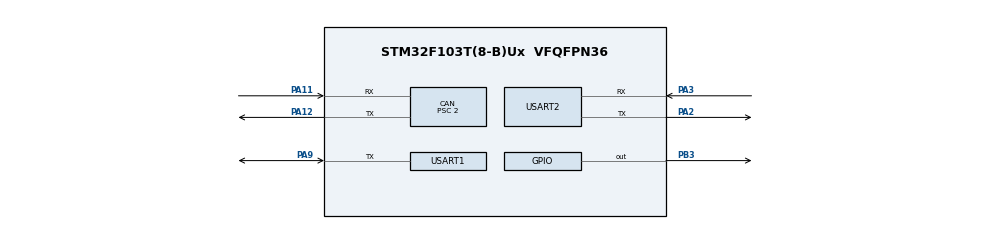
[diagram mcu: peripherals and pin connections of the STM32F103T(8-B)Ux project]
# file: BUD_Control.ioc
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CAN.AWUM=ENABLE
CAN.BS1=CAN_BS1_2TQ
CAN.CalculateBaudRate=1000000
CAN.CalculateTimeBit=1000
CAN.CalculateTimeQuantum=250.0
CAN.NART=ENABLE
CAN.Prescaler=2
Mcu.Family=STM32F1
Mcu.Name=STM32F103T(8-B)Ux
Mcu.Package=VFQFPN36
NVIC.PriorityGroup=NVIC_PRIORITYGROUP_4
NVIC.USB_LP_CAN1_RX0_IRQn=true\:0\:0\:false\:false\:true\:true\:true\:true
PA11.Mode=CAN_Activate
PA11.Signal=CAN_RX
PA12.Mode=CAN_Activate
PA12.Signal=CAN_TX
PA13.Mode=Serial_Wire
PA13.Signal=SYS_JTMS-SWDIO
PA14.Mode=Serial_Wire
PA14.Signal=SYS_JTCK-SWCLK
PA2.Mode=Asynchronous
PA2.Signal=USART2_TX
PA3.Mode=Asynchronous
PA3.Signal=USART2_RX
PA9.Mode=Half_duplex(single_wire_mode)
PA9.Signal=USART1_TX
PB3.Signal=GPIO_Output
PD0-OSC_IN.Mode=HSE-External-Oscillator
PD0-OSC_IN.Signal=RCC_OSC_IN
PD1-OSC_OUT.Mode=HSE-External-Oscillator
PD1-OSC_OUT.Signal=RCC_OSC_OUT
ProjectManager.HeapSize=0x200
ProjectManager.StackSize=0x400
ProjectManager.TargetToolchain=MDK-ARM V5.32
RCC.APB1Freq_Value=8000000
RCC.APB2Freq_Value=8000000
USART1.VirtualMode=VM_ASYNC
USART2.VirtualMode=VM_ASYNC
board=custom

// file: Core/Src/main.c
/* USER CODE BEGIN Header */
/**
  ******************************************************************************
  * @file           : main.c
  * @brief          : Main program body
  ******************************************************************************
  * @attention
  *
  * Copyright (c) 2024 STMicroelectronics.
  * All rights reserved.
  *
  * This software is licensed under terms that can be found in the LICENSE file
  * in the root directory of this software component.
  * If no LICENSE file comes with this software, it is provided AS-IS.
  *
  ******************************************************************************
  */
/* USER CODE END Header */
#include "main.h"
#include "can.h"
#include "usart.h"
#include "gpio.h"

/* USER CODE BEGIN PD */
#define SERVO_MOVE_TIME_WRITE 			1
#define SERVO_MOVE_TIME_READ 				2
#define SERVO_MOVE_TIME_WAIT_WRITE 	7
#define SERVO_MOVE_TIME_WAIT_READ 	8
#define SERVO_MOVE_START 						11
#define SERVO_MOVE_STOP 						12
#define SERVO_ID_WRITE 							13
#define SERVO_ID_READ 							14
#define SERVO_ANGLE_OFFSET_ADJUST 	17
#define SERVO_ANGLE_OFFSET_WRITE 		18
#define SERVO_ANGLE_OFFSET_READ 		19
#define SERVO_ANGLE_LIMIT_WRITE 		20
#define SERVO_ANGLE_LIMIT_READ 			21
#define SERVO_VIN_LIMIT_WRITE 			22
#define SERVO_VIN_LIMIT_READ 				23
#define SERVO_TEMP_MAX_LIMIT_WRITE 	24
#define SERVO_TEMP_MAX_LIMIT_READ 	25
#define SERVO_TEMP_READ 						26
#define SERVO_VIN_READ 							27
#define SERVO_POS_READ 							28
#define SERVO_OR_MOTOR_MODE_WRITE 	29
#define SERVO_OR_MOTOR_MODE_READ 		30
#define SERVO_LOAD_OR_UNLOAD_WRITE 	31
#define SERVO_LOAD_OR_UNLOAD_READ 	32
#define SERVO_LED_CTRL_WRITE 				33
#define SERVO_LED_CTRL_READ 				34
#define SERVO_LED_ERROR_WRITE 			35
#define SERVO_LED_ERROR_READ 				36

/* USER CODE END PD */

void SystemClock_Config(void);
/* USER CODE BEGIN PFP */
void command_pros(uint8_t index,uint8_t *Data,uint8_t len);
uint8_t  check_sum_pros(uint8_t *Data,uint8_t len);
void write_feedback(uint8_t *Rx_Data,uint8_t *Tx_Data);
void clear(uint8_t *Data);
/* USER CODE END PFP */

/* USER CODE BEGIN 0 */
uint8_t Tx_Buffer[10]={0x55,0x55};
uint8_t Rx_Buffer[10];
uint8_t TxData[8]={0};

uint16_t angel_min=0;
uint16_t angel_max=1000;
uint16_t V_min=4500;
uint16_t V_max=12000;
signed short int speed=500;
/* USER CODE END 0 */

int main(void)
{

  /* USER CODE BEGIN 1 */
	uint8_t index;
	uint8_t master_ID;
	uint8_t can_ID;
	uint8_t device_ID=254;
	uint8_t tag=4;

  /* USER CODE END 1 */

  /* MCU Configuration--------------------------------------------------------*/

  /* Reset of all peripherals, Initializes the Flash interface and the Systick. */
  HAL_Init();

  /* Configure the system clock */
  SystemClock_Config();

  /* Initialize all configured peripherals */
  MX_GPIO_Init();
  MX_CAN_Init();
  MX_USART1_UART_Init();
  MX_USART2_UART_Init();

  /* Infinite loop */
  /* USER CODE BEGIN WHILE */
  while (1)
  {
		if(receive_flag==1)											//CAN接收到信息
		{
			receive_flag=0;												//接收标志清零
			index=RxHeader.ExtId>>24;							//描述
			master_ID=(RxHeader.ExtId>>8)&0xFF;		//主机ID
			can_ID=(RxHeader.ExtId)&0xFF;					//can_ID
			if(can_ID==tag)
			{
				clear(TxData);
				switch(index)
				{
					case 0:
						//HAL_StatusTypeDef HAL_UART_Receive(UART_HandleTypeDef *huart, uint8_t *pData, uint16_t Size, uint32_t Timeout)
						if(RxData[0]==0)
						{														//CAN_ID读取
							TxData[0]=RxData[0];
							TxData[1]=1;
							TxData[7]=can_ID;
						}else{
							Tx_Buffer[2]=device_ID;		//金属爪子ID
							Tx_Buffer[3]=3;						//读取命令的数据长度均为3
							switch(RxData[0])
							{
								case 0x01:
									Tx_Buffer[2]=254;
									Tx_Buffer[4]=SERVO_ID_READ;																				//金属爪子ID读取
									Tx_Buffer[Tx_Buffer[3]+2]=check_sum_pros(Tx_Buffer,Tx_Buffer[3]);	//计算校验和
									HAL_HalfDuplex_EnableTransmitter(&huart1);
									HAL_UART_Transmit(&huart1,Tx_Buffer,Tx_Buffer[3]+3,0xffffffff);		//阻塞发送
									HAL_HalfDuplex_EnableReceiver(&huart1);
									HAL_UART_Receive(&huart1,Rx_Buffer,4+3,0xffffffff);								//阻塞接收
									device_ID=Rx_Buffer[5];																						//更新设备ID
									command_pros(RxData[0],Rx_Buffer,1);																	//接收数据处理
									break;
								case 0x02:
									Tx_Buffer[4]=SERVO_ANGLE_OFFSET_READ;															//偏差值读取
									Tx_Buffer[Tx_Buffer[3]+2]=check_sum_pros(Tx_Buffer,Tx_Buffer[3]);
									HAL_HalfDuplex_EnableTransmitter(&huart1);
									HAL_UART_Transmit(&huart1,Tx_Buffer,Tx_Buffer[3]+3,0xffffffff);		//阻塞发送
									HAL_HalfDuplex_EnableReceiver(&huart1);
									HAL_UART_Receive(&huart1,Rx_Buffer,4+3,0xffffffff);
									command_pros(RxData[0],Rx_Buffer,1);
									break;
								case 0x03:
									Tx_Buffer[4]=SERVO_ANGLE_LIMIT_READ;															//最小角度值读取
									Tx_Buffer[Tx_Buffer[3]+2]=check_sum_pros(Tx_Buffer,Tx_Buffer[3]);
									HAL_HalfDuplex_EnableTransmitter(&huart1);
									HAL_UART_Transmit(&huart1,Tx_Buffer,Tx_Buffer[3]+3,0xffffffff);		//阻塞发送
									HAL_HalfDuplex_EnableReceiver(&huart1);
									HAL_UART_Receive(&huart1,Rx_Buffer,7+3,0xffffffff);
									command_pros(RxData[0],Rx_Buffer,2);
									break;
								case 0x04:
									Tx_Buffer[4]=SERVO_ANGLE_LIMIT_READ;															//最大角度值读取
									Tx_Buffer[Tx_Buffer[3]+2]=check_sum_pros(Tx_Buffer,Tx_Buffer[3]);
									HAL_HalfDuplex_EnableTransmitter(&huart1);
									HAL_UART_Transmit(&huart1,Tx_Buffer,Tx_Buffer[3]+3,0xffffffff);		//阻塞发送
									HAL_HalfDuplex_EnableReceiver(&huart1);
									HAL_UART_Receive(&huart1,Rx_Buffer,7+3,0xffffffff);
									command_pros(RxData[0],Rx_Buffer,2);
									break;
								case 0x05:
									Tx_Buffer[4]=SERVO_POS_READ;																			//当前角度值读取
									Tx_Buffer[Tx_Buffer[3]+2]=check_sum_pros(Tx_Buffer,Tx_Buffer[3]);
									HAL_HalfDuplex_EnableTransmitter(&huart1);
									HAL_UART_Transmit(&huart1,Tx_Buffer,Tx_Buffer[3]+3,0xffffffff);		//阻塞发送
									HAL_HalfDuplex_EnableReceiver(&huart1);
									HAL_UART_Receive(&huart1,Rx_Buffer,5+3,0xffffffff);
									command_pros(RxData[0],Rx_Buffer,2);
									break;
								case 0x06:
									Tx_Buffer[4]=SERVO_VIN_LIMIT_READ;																//最小输出电压读取
									Tx_Buffer[Tx_Buffer[3]+2]=check_sum_pros(Tx_Buffer,Tx_Buffer[3]);
									HAL_HalfDuplex_EnableTransmitter(&huart1);
									HAL_UART_Transmit(&huart1,Tx_Buffer,Tx_Buffer[3]+3,0xffffffff);		//阻塞发送
									HAL_HalfDuplex_EnableReceiver(&huart1);
									HAL_UART_Receive(&huart1,Rx_Buffer,7+3,0xffffffff);
									command_pros(RxData[0],Rx_Buffer,2);
									break;
								case 0x07:
									Tx_Buffer[4]=SERVO_VIN_LIMIT_READ;																//最大输出电压读取
									Tx_Buffer[Tx_Buffer[3]+2]=check_sum_pros(Tx_Buffer,Tx_Buffer[3]);
									HAL_HalfDuplex_EnableTransmitter(&huart1);
									HAL_UART_Transmit(&huart1,Tx_Buffer,Tx_Buffer[3]+3,0xffffffff);		//阻塞发送
									HAL_HalfDuplex_EnableReceiver(&huart1);
									HAL_UART_Receive(&huart1,Rx_Buffer,7+3,0xffffffff);
									command_pros(RxData[0],Rx_Buffer,2);
									break;
								case 0x08:
									Tx_Buffer[4]=SERVO_VIN_READ;																			//当前输出电压读取
									Tx_Buffer[Tx_Buffer[3]+2]=check_sum_pros(Tx_Buffer,Tx_Buffer[3]);
									HAL_HalfDuplex_EnableTransmitter(&huart1);
									HAL_UART_Transmit(&huart1,Tx_Buffer,Tx_Buffer[3]+3,0xffffffff);		//阻塞发送
									HAL_HalfDuplex_EnableReceiver(&huart1);
									HAL_UART_Receive(&huart1,Rx_Buffer,5+3,0xffffffff);
									command_pros(RxData[0],Rx_Buffer,2);
									break;
								case 0x09:
									Tx_Buffer[4]=SERVO_LED_ERROR_READ;																//故障状态读取
									Tx_Buffer[Tx_Buffer[3]+2]=check_sum_pros(Tx_Buffer,Tx_Buffer[3]);
									HAL_HalfDuplex_EnableTransmitter(&huart1);
									HAL_UART_Transmit(&huart1,Tx_Buffer,Tx_Buffer[3]+3,0xffffffff);		//阻塞发送
									HAL_HalfDuplex_EnableReceiver(&huart1);
									HAL_UART_Receive(&huart1,Rx_Buffer,4+3,0xffffffff);
									command_pros(RxData[0],Rx_Buffer,1);
									break;
								case 0x10:
									Tx_Buffer[4]=SERVO_TEMP_READ;																			//当前温度读取
									Tx_Buffer[Tx_Buffer[3]+2]=check_sum_pros(Tx_Buffer,Tx_Buffer[3]);
									HAL_HalfDuplex_EnableTransmitter(&huart1);
									HAL_UART_Transmit(&huart1,Tx_Buffer,Tx_Buffer[3]+3,0xffffffff);		//阻塞发送
									HAL_HalfDuplex_EnableReceiver(&huart1);
									HAL_UART_Receive(&huart1,Rx_Buffer,4+3,0xffffffff);
									command_pros(RxData[0],Rx_Buffer,1);
									break;
								case 0x11:
									Tx_Buffer[4]=SERVO_OR_MOTOR_MODE_READ;														//当前模式读取
									Tx_Buffer[Tx_Buffer[3]+2]=check_sum_pros(Tx_Buffer,Tx_Buffer[3]);
									HAL_HalfDuplex_EnableTransmitter(&huart1);
									HAL_UART_Transmit(&huart1,Tx_Buffer,Tx_Buffer[3]+3,0xffffffff);		//阻塞发送
									HAL_HalfDuplex_EnableReceiver(&huart1);
									HAL_UART_Receive(&huart1,Rx_Buffer,7+3,0xffffffff);
									command_pros(RxData[0],Rx_Buffer,1);
									break;
								default:
									break;
							}
						}
						break;
					case 1:
						Tx_Buffer[2]=device_ID;			//金属爪子ID
						HAL_HalfDuplex_EnableTransmitter(&huart1);
						switch(RxData[0])
						{
							case 0x00:								//CAN_ID写入
								tag=RxData[7];
								can_ID=tag;							//CAN_ID更新
								HAL_CAN_Stop(&hcan);
								HAL_Delay(100);
								filter_config(tag);			//重新配置过滤器
								write_feedback(RxData,TxData);//反馈信息
								break;
							case 0x01:
								Tx_Buffer[3]=4;																											//数据长度
								Tx_Buffer[4]=SERVO_ID_WRITE;																				//修改金属爪子ID
								Tx_Buffer[5]=RxData[7];																							//获取修改ID数据
								device_ID=RxData[7];																								//更新ID
								Tx_Buffer[Tx_Buffer[3]+2]=check_sum_pros(Tx_Buffer,Tx_Buffer[3]);		//计算校验和
								HAL_UART_Transmit(&huart1,Tx_Buffer,Tx_Buffer[3]+3,0xffffffff);			//阻塞发送
								write_feedback(RxData,TxData);
								break;
							case 0x02:
								Tx_Buffer[3]=4;																											//偏差值写入
								Tx_Buffer[4]=SERVO_ANGLE_OFFSET_ADJUST;
								Tx_Buffer[5]=RxData[7];
								Tx_Buffer[Tx_Buffer[3]+2]=check_sum_pros(Tx_Buffer,Tx_Buffer[3]);
								HAL_UART_Transmit(&huart1,Tx_Buffer,Tx_Buffer[3]+3,0xffffffff);
								Tx_Buffer[3]=3;																											//保存偏差值
								Tx_Buffer[4]=SERVO_ANGLE_OFFSET_WRITE;
								Tx_Buffer[Tx_Buffer[3]+2]=check_sum_pros(Tx_Buffer,Tx_Buffer[3]);
								HAL_UART_Transmit(&huart1,Tx_Buffer,Tx_Buffer[3]+3,0xffffffff);			//阻塞发送
								write_feedback(RxData,TxData);
								break;
							case 0x03:
								Tx_Buffer[3]=7;																											//最小角度写入
								Tx_Buffer[4]=SERVO_ANGLE_LIMIT_WRITE;
								angel_min=RxData[6]+(RxData[7]<<8);
								if(angel_min>=angel_max)angel_min=angel_max-1;//保证最小角度小于最大角度
								Tx_Buffer[5]=angel_min&0xFF;			//低八位
								Tx_Buffer[6]=(angel_min>>8)&0xFF;	//高八位
								Tx_Buffer[7]=angel_max&0xFF;			//低八位
								Tx_Buffer[8]=(angel_max>>8)&0xFF;	//高八位
								Tx_Buffer[Tx_Buffer[3]+2]=check_sum_pros(Tx_Buffer,Tx_Buffer[3]);
								HAL_UART_Transmit(&huart1,Tx_Buffer,Tx_Buffer[3]+3,0xffffffff);			//阻塞发送
								write_feedback(RxData,TxData);
								break;
							case 0x04:
								Tx_Buffer[3]=7;																											//最大角度写入
								Tx_Buffer[4]=SERVO_ANGLE_LIMIT_WRITE;
								angel_max=RxData[6]+(RxData[7]<<8);
								if(angel_min>=angel_max)angel_max=angel_min+1;//保证最小角度小于最大角度
								Tx_Buffer[5]=angel_min&0xFF;			//低八位
								Tx_Buffer[6]=(angel_min>>8)&0xFF;	//高八位
								Tx_Buffer[7]=angel_max&0xFF;			//低八位
								Tx_Buffer[8]=(angel_max>>8)&0xFF;	//高八位
								Tx_Buffer[Tx_Buffer[3]+2]=check_sum_pros(Tx_Buffer,Tx_Buffer[3]);
								HAL_UART_Transmit(&huart1,Tx_Buffer,Tx_Buffer[3]+3,0xffffffff);			//阻塞发送
								write_feedback(RxData,TxData);
								break;
							case 0x06:
								Tx_Buffer[3]=7;																											//最小电压写入
								Tx_Buffer[4]=SERVO_VIN_LIMIT_WRITE;
								V_min=RxData[6]+(RxData[7]<<8);
								if(V_min>=V_max)V_min=V_max-1;//保证最小输入电压小于最大输入电压
								Tx_Buffer[5]=V_min&0xFF;			//低八位
								Tx_Buffer[6]=(V_min>>8)&0xFF;	//高八位
								Tx_Buffer[7]=V_max&0xFF;			//低八位
								Tx_Buffer[8]=(V_max>>8)&0xFF;	//高八位
								Tx_Buffer[Tx_Buffer[3]+2]=check_sum_pros(Tx_Buffer,Tx_Buffer[3]);
								HAL_UART_Transmit(&huart1,Tx_Buffer,Tx_Buffer[3]+3,0xffffffff);			//阻塞发送
								write_feedback(RxData,TxData);
								break;
							case 0x07:
								Tx_Buffer[3]=7;																											//最大电压写入
								Tx_Buffer[4]=SERVO_VIN_LIMIT_WRITE;
								V_max=RxData[6]+(RxData[7]<<8);
								if(V_min>=V_max)V_max=V_min+1;//保证最小输入电压小于最大输入电压
								Tx_Buffer[5]=V_min&0xFF;			//低八位
								Tx_Buffer[6]=(V_min>>8)&0xFF;	//高八位
								Tx_Buffer[7]=V_max&0xFF;			//低八位
								Tx_Buffer[8]=(V_max>>8)&0xFF;	//高八位
								Tx_Buffer[Tx_Buffer[3]+2]=check_sum_pros(Tx_Buffer,Tx_Buffer[3]);
								HAL_UART_Transmit(&huart1,Tx_Buffer,Tx_Buffer[3]+3,0xffffffff);
								write_feedback(RxData,TxData);
								break;
							case 0x11:
								Tx_Buffer[3]=7;																											//电机模式写入
								Tx_Buffer[4]=SERVO_OR_MOTOR_MODE_WRITE;
								Tx_Buffer[5]=RxData[7];
								Tx_Buffer[6]=0;
								Tx_Buffer[7]=((unsigned short int)speed)&0xFF;											//转动速度值
								Tx_Buffer[7]=(((unsigned short int)speed)>>8)&0xFF;
								Tx_Buffer[Tx_Buffer[3]+2]=check_sum_pros(Tx_Buffer,Tx_Buffer[3]);
								HAL_UART_Transmit(&huart1,Tx_Buffer,Tx_Buffer[3]+3,0xffffffff);
								write_feedback(RxData,TxData);
								break;
							default:
								break;
						}
						break;
					case 2:
						Tx_Buffer[2]=device_ID;																									//金属爪子ID
						Tx_Buffer[3]=7;
						Tx_Buffer[4]=SERVO_MOVE_TIME_WRITE;																			//模式时间写入
						Tx_Buffer[5]=RxData[0];
						Tx_Buffer[6]=RxData[1];
						Tx_Buffer[7]=RxData[4];
						Tx_Buffer[8]=RxData[5];
						Tx_Buffer[Tx_Buffer[3]+2]=check_sum_pros(Tx_Buffer,Tx_Buffer[3]);
						HAL_HalfDuplex_EnableTransmitter(&huart1);
						HAL_UART_Transmit(&huart1,Tx_Buffer,Tx_Buffer[3]+3,0xffffffff);
						break;
					default:
							break;
				}
				can_send_msg(index,master_ID,can_ID, TxData, 8);														//发送反馈给上位机
			}
		}
    /* USER CODE END WHILE */

  }
}

void SystemClock_Config(void)
{
  RCC_OscInitTypeDef RCC_OscInitStruct = {0};
  RCC_ClkInitTypeDef RCC_ClkInitStruct = {0};

  /** Initializes the RCC Oscillators according to the specified parameters
  * in the RCC_OscInitTypeDef structure.
  */
  RCC_OscInitStruct.OscillatorType = RCC_OSCILLATORTYPE_HSI;
  RCC_OscInitStruct.HSIState = RCC_HSI_ON;
  RCC_OscInitStruct.HSICalibrationValue = RCC_HSICALIBRATION_DEFAULT;
  RCC_OscInitStruct.PLL.PLLState = RCC_PLL_NONE;
  if (HAL_RCC_OscConfig(&RCC_OscInitStruct) != HAL_OK)
  {
    Error_Handler();
  }

  /** Initializes the CPU, AHB and APB buses clocks
  */
  RCC_ClkInitStruct.ClockType = RCC_CLOCKTYPE_HCLK|RCC_CLOCKTYPE_SYSCLK
                              |RCC_CLOCKTYPE_PCLK1|RCC_CLOCKTYPE_PCLK2;
  RCC_ClkInitStruct.SYSCLKSource = RCC_SYSCLKSOURCE_HSI;
  RCC_ClkInitStruct.AHBCLKDivider = RCC_SYSCLK_DIV1;
  RCC_ClkInitStruct.APB1CLKDivider = RCC_HCLK_DIV1;
  RCC_ClkInitStruct.APB2CLKDivider = RCC_HCLK_DIV1;

  if (HAL_RCC_ClockConfig(&RCC_ClkInitStruct, FLASH_LATENCY_0) != HAL_OK)
  {
    Error_Handler();
  }
}

/* USER CODE BEGIN 4 */
void command_pros(uint8_t index,uint8_t *Data,uint8_t len)
{
	TxData[0]=index;
	TxData[1]=len;
	switch(index)
	{
		case 0x01:
			TxData[7]=Data[5];
			break;
		case 0x02:
			TxData[7]=Data[5];
			break;
		case 0x03:
			TxData[6]=Data[5];	//低八位
			TxData[7]=Data[6];	//高八位
			angel_min=Data[5]+(Data[6]<<8);//最小角度更新
			angel_max=Data[7]+(Data[8]<<8);//最大角度更新
			break;
		case 0x04:
			TxData[6]=Data[7];	//低八位
			TxData[7]=Data[8];	//高八位
			angel_min=Data[5]+(Data[6]<<8);//最小角度更新
			angel_max=Data[7]+(Data[8]<<8);//最大角度更新
			break;
		case 0x05:
			TxData[6]=Data[5];
			TxData[7]=Data[6];
			break;
		case 0x06:
			TxData[6]=Data[5];
			TxData[7]=Data[6];
			V_min=Data[5]+(Data[6]<<8);		//最小电压更新
			V_max=Data[7]+(Data[8]<<8);		//最大电压更新
			break;
		case 0x07:
			TxData[6]=Data[7];
			TxData[7]=Data[8];
			V_min=Data[5]+(Data[6]<<8);		//最小电压更新
			V_max=Data[7]+(Data[8]<<8);		//最大电压更新
			break;
		case 0x08:
			TxData[6]=Data[5];
			TxData[7]=Data[6];
			break;
		case 0x09:
			TxData[7]=Data[5];
			break;
		case 0x10:
			TxData[7]=Data[5];
			break;
		case 0x11:
			TxData[7]=Data[5];
			speed=(signed short int)(Data[7]+(Data[8]<<8));	//速度值更新
			break;
	}
}
uint8_t check_sum_pros(uint8_t *Data,uint8_t len)		//校验和计算
{
	uint8_t i;
	uint16_t sum=0;
	for(i=2;i<len+2;i++)
	{
		sum+=Data[i];
	}
	return (~sum)&0xFF;
}
void clear(uint8_t *Data)													//数组清零
{
	uint8_t i;
	for(i=0;i<8;i++)
	{
		Data[i]=0;
	}
}
void write_feedback(uint8_t *Rx_Data,uint8_t *Tx_Data)		//数据反馈
{
	uint8_t i;
	for(i=0;i<8;i++)
	{
		Tx_Data[i]=Rx_Data[i];
	}
}
/* USER CODE END 4 */

void Error_Handler(void)
{
  __disable_irq();
  while (1)
  {
  }
}
